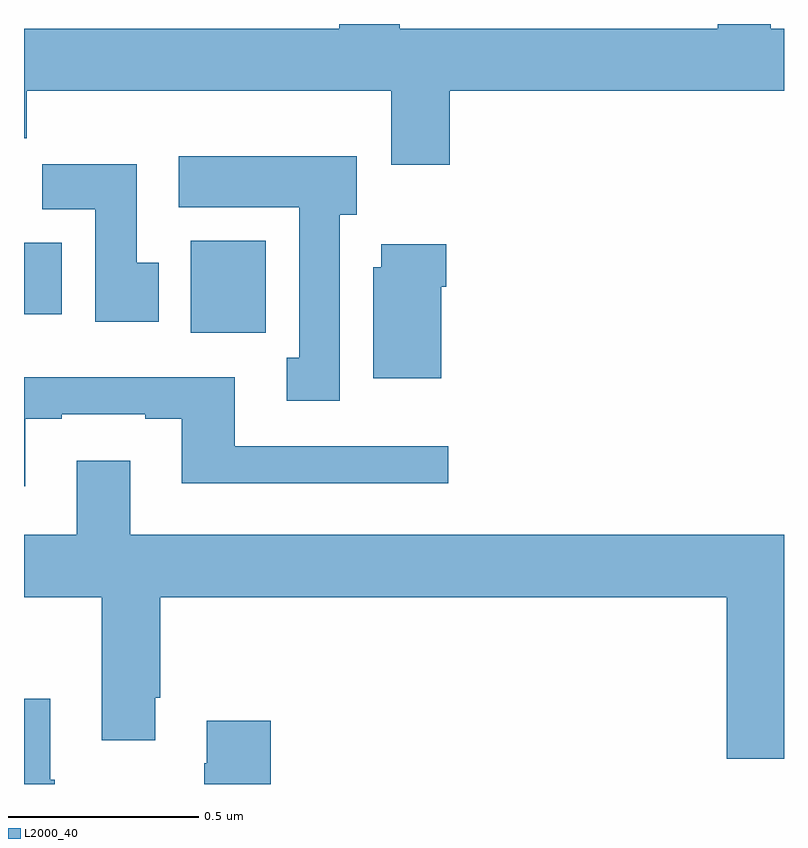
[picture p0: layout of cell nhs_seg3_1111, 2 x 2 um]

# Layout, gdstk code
import gdstk
lib = gdstk.Library(unit=1e-6, precision=1e-09)
def R(c, l, rs):  # rectangles x0, y0, x1, y1
    for r in rs: c.add(gdstk.rectangle(r[:2], r[2:], *l))
def P(c, l, *ps):  # polygons
    for p in ps: c.add(gdstk.Polygon(p, *l))
L2000_40 = (2000, 40)

nhs_seg3_1111 = lib.new_cell('nhs_seg3_1111')
R(nhs_seg3_1111, L2000_40, [(124.439,725.588,124.636,725.83), (124,725.636,124.099,725.824)])
P(nhs_seg3_1111, L2000_40, [(125.12,726.224),(126,726.224),(126,726.388),(125.965,726.388),(125.965,726.4),(125.825,726.4),(125.825,726.388),(124.989,726.388),(124.989,726.4),(124.829,726.4),(124.829,726.388),(124,726.388),(124,726.1),(124.007,726.1),(124.007,726.224),(124.967,726.224),(124.967,726.03),(125.12,726.03)],
  [(124.831,725.898),(124.876,725.898),(124.876,726.052),(124.407,726.052),(124.407,725.918),(124.724,725.918),(124.724,725.522),(124.691,725.522),(124.691,725.409),(124.831,725.409)],
  [(124.354,725.772),(124.297,725.772),(124.297,726.031),(124.048,726.031),(124.048,725.912),(124.187,725.912),(124.187,725.616),(124.354,725.616)],
  [(125.098,725.708),(125.111,725.708),(125.111,725.821),(124.94,725.821),(124.94,725.76),(124.919,725.76),(124.919,725.468),(125.098,725.468)],
  [(124.003,725.361),(124.099,725.361),(124.099,725.373),(124.319,725.373),(124.319,725.361),(124.415,725.361),(124.415,725.192),(125.116,725.192),(125.116,725.289),(124.555,725.289),(124.555,725.47),(124,725.47),(124,725.184),(124.003,725.184)],
  [(126,725.056),(124.279,725.056),(124.279,725.251),(124.139,725.251),(124.139,725.056),(124,725.056),(124,724.892),(124.205,724.892),(124.205,724.515),(124.345,724.515),(124.345,724.627),(124.358,724.627),(124.358,724.892),(125.849,724.892),(125.849,724.467),(126,724.467)],
  [(124.081,724.411),(124.069,724.411),(124.069,724.624),(124,724.624),(124,724.4),(124.081,724.4)],
  [(124.649,724.567),(124.481,724.567),(124.481,724.454),(124.474,724.454),(124.474,724.4),(124.649,724.4)])

lib.write_gds('nhs_seg3_1111.gds')
